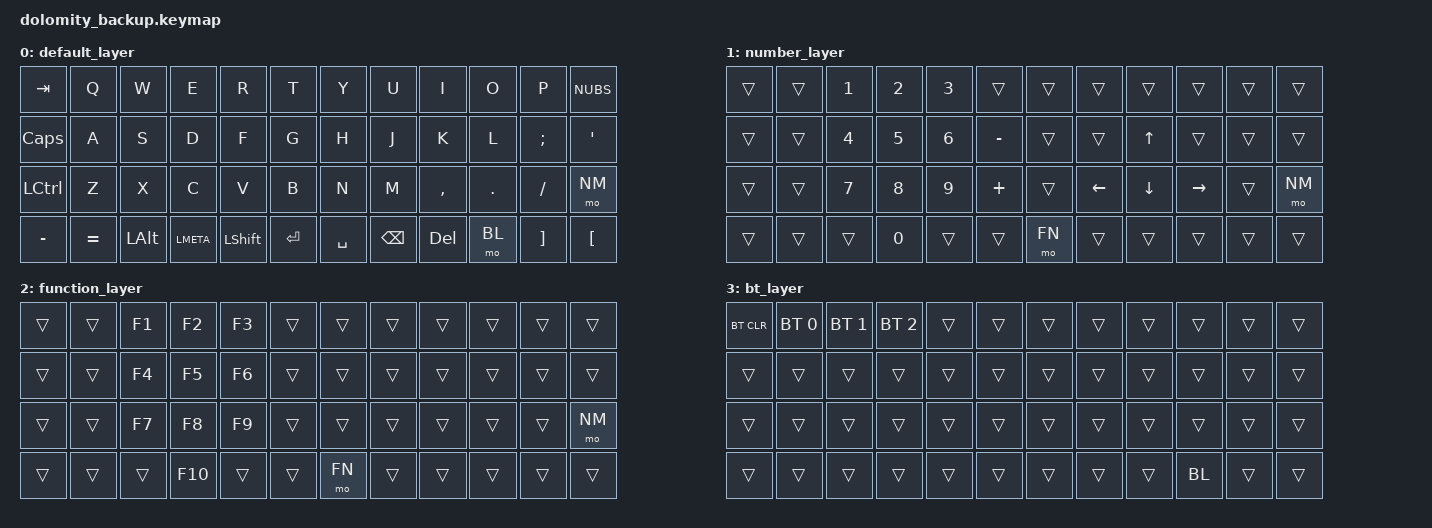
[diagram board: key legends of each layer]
#include <behaviors.dtsi>
#include <dt-bindings/zmk/keys.h>
#include <dt-bindings/zmk/bt.h>

#define DEFAULT 0
#define NM   1
#define FN   2
#define BL   3

/ {
    keymap {
        
        compatible = "zmk,keymap";

        default_layer {
        bindings = < 
        &kp TAB          &kp Q     &kp W    &kp E     &kp R     &kp T     &kp Y      &kp U          &kp I       &kp O     &kp P     &kp NUBS
        &kp CAPSLOCK     &kp A     &kp S    &kp D     &kp F     &kp G     &kp H      &kp J          &kp K       &kp L     &kp SEMI  &kp SQT
        &kp LEFT_CONTROL &kp Z     &kp X    &kp C     &kp V     &kp B     &kp N      &kp M          &kp COMMA   &kp DOT   &kp FSLH  &mo NM
        &kp MINUS        &kp EQUAL &kp LALT &kp LMETA &kp LSHFT &kp ENTER &kp SPACE  &kp BACKSPACE  &kp DELETE  &mo BL    &kp RBKT  &kp LBKT
            >;
    };
        number_layer {
        bindings = < 
        &trans   &trans   &kp N1   &kp N2 &kp N3   &trans      &trans  &trans         &trans          &trans           &trans  &trans
        &trans   &trans   &kp N4   &kp N5 &kp N6   &kp MINUS   &trans  &trans         &kp UP_ARROW    &trans           &trans  &trans
        &trans   &trans   &kp N7   &kp N8 &kp N9   &kp PLUS    &trans  &kp LEFT_ARROW &kp DOWN_ARROW  &kp RIGHT_ARROW  &trans  &mo NM
        &trans   &trans   &trans   &kp N0 &trans   &trans      &mo FN  &trans         &trans          &trans           &trans  &trans
            >;
    };

        function_layer {
        bindings = < 
        &trans   &trans   &kp F1    &kp F2    &kp F3     &trans   &trans  &trans    &trans   &trans    &trans  &trans
        &trans   &trans   &kp F4    &kp F5    &kp F6     &trans   &trans  &trans    &trans   &trans    &trans  &trans
        &trans   &trans   &kp F7    &kp F8    &kp F9     &trans   &trans  &trans    &trans   &trans    &trans  &mo NM
        &trans   &trans   &trans    &kp F10   &trans     &trans   &mo FN  &trans    &trans   &trans    &trans  &trans
            >;
    };

        bt_layer {
        bindings = < 
        &bt BT_CLR  &bt BT_SEL 0  &bt BT_SEL 1  &bt BT_SEL 2  &trans  &trans  &trans  &trans   &trans   &trans    &trans  &trans
        &trans      &trans        &trans        &trans        &trans  &trans  &trans  &trans   &trans   &trans    &trans  &trans
        &trans      &trans        &trans        &trans        &trans  &trans  &trans  &trans   &trans   &trans    &trans  &trans
        &trans      &trans        &trans        &trans        &trans  &trans  &trans  &trans   &trans   &kp BL    &trans  &trans
            >;
    };

    };
};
